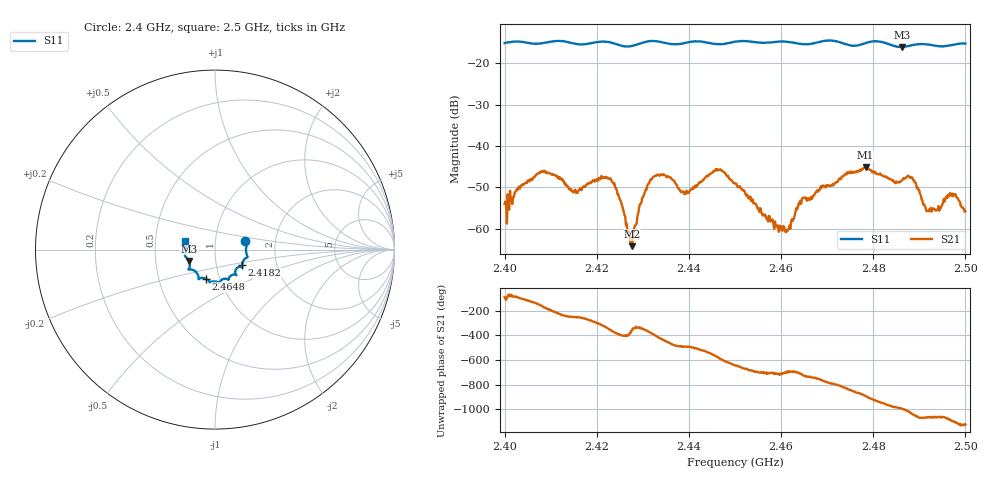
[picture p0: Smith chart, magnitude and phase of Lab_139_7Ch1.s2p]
# Hz S RI R 50
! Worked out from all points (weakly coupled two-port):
!   601 points, 2.4 GHz to 2.5 GHz, reference 50 ohm
!   highest |S21| = -45.07 dB at 2.4783 GHz (marker M1); lowest = -64.3 dB at 2.4277 GHz (marker M2)
!   lowest |S11| = -16.1 dB at 2.4862 GHz (marker M3), VSWR 1.37, Z = 37.1 - j4.82 ohm
!   |S11| at or under -10 dB: start of sweep to end of sweep
!   S12 and S22 are empty: the file has one direction only
!   S11 on the Smith chart (normalised r, x): 2.4 GHz: 1.40, +0.13; 2.4182 GHz: 1.33, -0.23; 2.4648 GHz: 0.86, -0.29; 2.5 GHz: 0.71, +0.07
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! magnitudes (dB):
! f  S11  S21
! 2.4 GHz  -15.1  -54.0
! 2.4083 GHz  -15.1  -46.0
! 2.4167 GHz  -15.4  -50.7
! 2.4182 GHz  -15.3  -49.0
! 2.4233 GHz  -15.0  -48.7
! 2.4277 GHz  -15.8  -64.3
! 2.4307 GHz  -14.8  -50.5
! 2.4333 GHz  -14.7  -46.9
! 2.4388 GHz  -15.2  -51.1
! 2.4463 GHz  -15.4  -45.9
! 2.45 GHz  -14.8  -49.0
! 2.4598 GHz  -14.7  -59.3
! 2.4615 GHz  -14.8  -60.3
! 2.4648 GHz  -15.4  -52.6
! 2.4667 GHz  -15.2  -52.8
! 2.4783 GHz  -15.1  -45.1
! 2.4833 GHz  -15.3  -47.9
! 2.4862 GHz  -16.1  -48.5
! 2.4887 GHz  -15.6  -48.3
! 2.4918 GHz  -15.4  -55.8
! 2.4972 GHz  -15.6  -51.5
! 2.5 GHz  -15.2  -55.8
